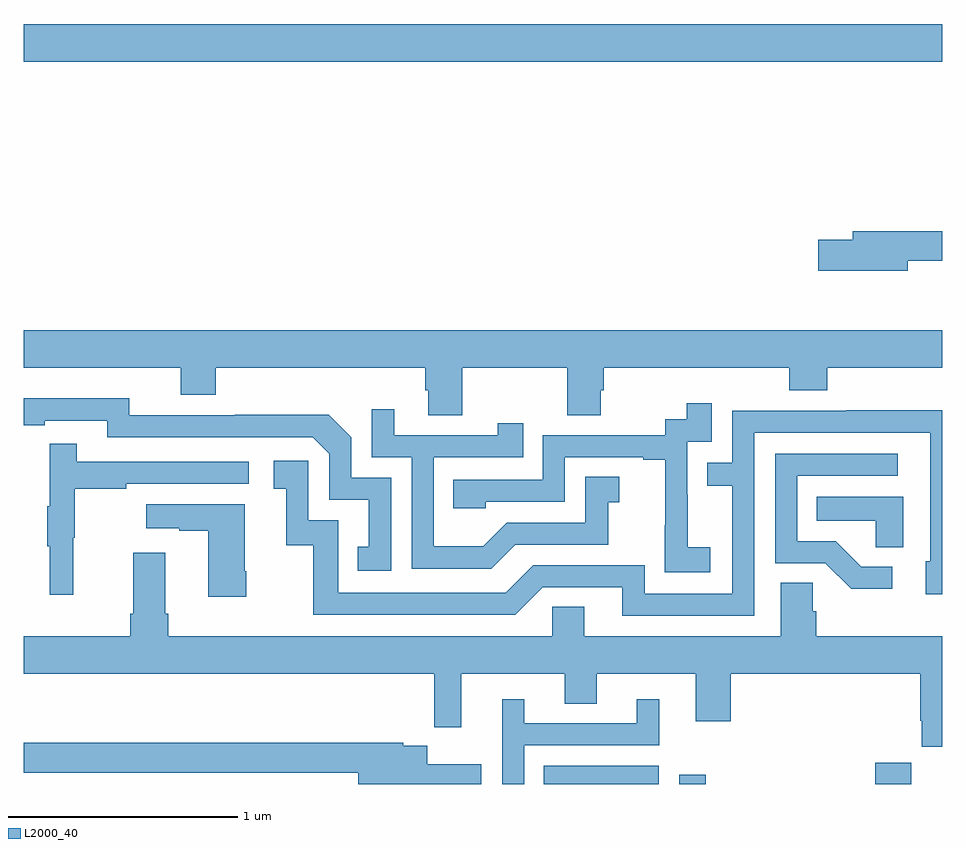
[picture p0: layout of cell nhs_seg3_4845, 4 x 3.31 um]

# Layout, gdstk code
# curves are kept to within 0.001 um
import gdstk
lib = gdstk.Library(unit=1e-6, precision=1e-09)
def R(c, l, rs):  # rectangles x0, y0, x1, y1
    for r in rs: c.add(gdstk.rectangle(r[:2], r[2:], *l))
def P(c, l, *ps):  # polygons
    for p in ps: c.add(gdstk.Polygon(p, *l))
L2000_40 = (2000, 40)

nhs_seg3_4845 = lib.new_cell('nhs_seg3_4845')
R(nhs_seg3_4845, L2000_40, [(373.264,736.4,373.765,736.48), (373.854,736.4,373.97,736.441), (374.708,736.4,374.863,736.492), (371,739.544,375,739.708)])
P(nhs_seg3_4845, L2000_40, [(374.848,738.678),(375,738.678),(375,738.806),(374.609,738.806),(374.609,738.77),(374.46,738.77),(374.46,738.635),(374.848,738.635)],
  [(371,738.212),(371.684,738.212),(371.684,738.095),(371.837,738.095),(371.837,738.212),(372.749,738.212),(372.749,738.114),(372.761,738.114),(372.761,738.004),(372.909,738.004),(372.909,738.212),(373.366,738.212),(373.366,738.004),(373.513,738.004),(373.513,738.114),(373.526,738.114),(373.526,738.212),(374.333,738.212),(374.333,738.113),(374.498,738.113),(374.498,738.212),(375,738.212),(375,738.376),(371,738.376)],
  [(372.6,737.733),(372.426,737.733),(372.426,737.91),(372.328,738.008),(371.92,738.008),(371.92,738.006),(371.46,738.006),(371.46,738.079),(371,738.078),(371,737.962),(371.092,737.962),(371.092,737.982),(371.364,737.982),(371.364,737.91),(372.258,737.91),(372.33,737.838),(372.33,737.637),(372.503,737.637),(372.503,737.433),(372.454,737.433),(372.454,737.328),(372.6,737.328)],
  [(373.99,737.431),(373.892,737.431),(373.892,737.66),(373.89,737.66),(373.89,737.889),(373.995,737.889),(373.995,738.058),(373.887,738.058),(373.887,737.988),(373.794,737.988),(373.794,737.919),(373.26,737.919),(373.26,737.724),(372.871,737.724),(372.871,737.601),(373.011,737.601),(373.011,737.628),(373.356,737.628),(373.356,737.823),(373.697,737.823),(373.697,737.811),(373.793,737.811),(373.793,737.527),(373.792,737.527),(373.792,737.321),(373.99,737.321)],
  [(373.141,737.442),(373.545,737.442),(373.545,737.627),(373.594,737.627),(373.594,737.737),(373.446,737.737),(373.446,737.538),(373.104,737.538),(373,737.434),(372.786,737.434),(372.786,737.823),(373.175,737.823),(373.175,737.971),(373.064,737.971),(373.064,737.919),(372.613,737.919),(372.613,738.031),(372.516,738.031),(372.516,737.823),(372.69,737.823),(372.69,737.337),(373.036,737.337)],
  [(374.181,737.928),(374.946,737.928),(374.946,737.37),(374.927,737.37),(374.927,737.226),(375,737.226),(375,738.026),(374.581,738.026),(374.581,738.024),(374.085,738.024),(374.085,737.799),(373.975,737.799),(373.975,737.698),(374.085,737.698),(374.085,737.229),(373.704,737.229),(373.704,737.352),(373.218,737.352),(373.098,737.232),(372.369,737.232),(372.369,737.547),(372.24,737.547),(372.24,737.806),(372.09,737.806),(372.09,737.685),(372.143,737.685),(372.143,737.439),(372.261,737.439),(372.261,737.136),(373.14,737.136),(373.26,737.256),(373.607,737.256),(373.607,737.133),(374.181,737.133)],
  [(371.216,737.472),(371.224,737.472),(371.224,737.686),(371.447,737.686),(371.447,737.706),(371.98,737.706),(371.98,737.802),(371.231,737.802),(371.231,737.881),(371.114,737.881),(371.114,737.609),(371.103,737.609),(371.103,737.435),(371.114,737.435),(371.114,737.223),(371.216,737.223)],
  [(374.782,737.346),(374.647,737.346),(374.536,737.457),(374.367,737.457),(374.367,737.742),(374.806,737.742),(374.806,737.838),(374.271,737.838),(374.271,737.361),(374.49,737.361),(374.603,737.249),(374.782,737.249)],
  [(374.83,737.65),(374.452,737.65),(374.452,737.546),(374.709,737.546),(374.709,737.431),(374.83,737.431)],
  [(371.97,737.326),(371.962,737.326),(371.962,737.617),(371.535,737.617),(371.535,737.513),(371.678,737.513),(371.678,737.503),(371.804,737.503),(371.804,737.214),(371.97,737.214)],
  [(375,737.044),(374.45,737.044),(374.45,737.153),(374.436,737.153),(374.436,737.276),(374.297,737.276),(374.297,737.044),(373.441,737.044),(373.441,737.171),(373.302,737.171),(373.302,737.044),(371.63,737.044),(371.63,737.14),(371.617,737.14),(371.617,737.407),(371.477,737.407),(371.477,737.14),(371.465,737.14),(371.465,737.044),(371,737.044),(371,736.88),(372.787,736.88),(372.787,736.647),(372.905,736.647),(372.905,736.88),(373.355,736.88),(373.355,736.75),(373.495,736.75),(373.495,736.88),(373.925,736.88),(373.925,736.674),(374.078,736.674),(374.078,736.88),(374.903,736.88),(374.903,736.675),(374.909,736.675),(374.909,736.563),(375,736.563)],
  [(373.179,736.569),(373.768,736.569),(373.768,736.768),(373.67,736.768),(373.67,736.665),(373.18,736.665),(373.18,736.768),(373.083,736.768),(373.083,736.4),(373.179,736.4)],
  [(372.993,736.486),(372.757,736.486),(372.757,736.567),(372.653,736.567),(372.653,736.579),(371,736.579),(371,736.45),(372.458,736.45),(372.458,736.4),(372.993,736.4)])

lib.write_gds('nhs_seg3_4845.gds')
